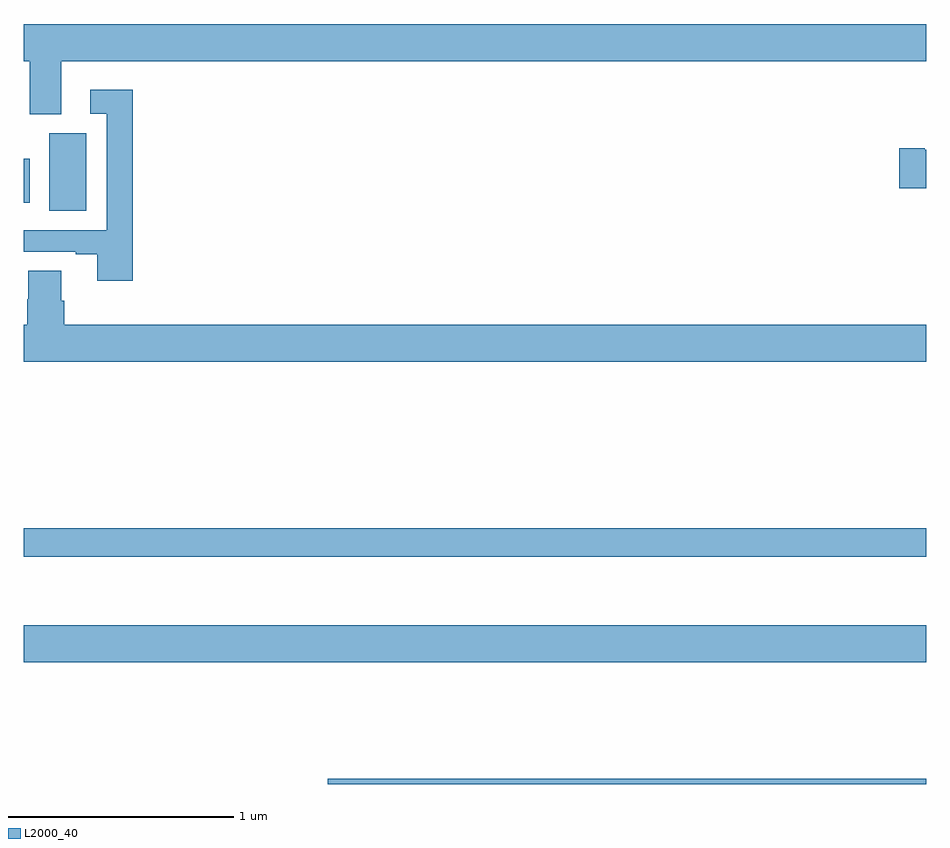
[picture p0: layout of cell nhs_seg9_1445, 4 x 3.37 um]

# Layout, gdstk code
import gdstk
lib = gdstk.Library(unit=1e-6, precision=1e-09)
def R(c, l, rs):  # rectangles x0, y0, x1, y1
    for r in rs: c.add(gdstk.rectangle(r[:2], r[2:], *l))
def P(c, l, *ps):  # polygons
    for p in ps: c.add(gdstk.Polygon(p, *l))
L2000_40 = (2000, 40)

nhs_seg9_1445 = lib.new_cell('nhs_seg9_1445')
R(nhs_seg9_1445, L2000_40, [(192.347,1242.5,195,1242.524), (191,1243.04,195,1243.204), (191,1243.506,195,1243.634), (191.114,1245.04,191.278,1245.384), (191,1245.075,191.026,1245.271)])
P(nhs_seg9_1445, L2000_40, [(191.167,1245.704),(195,1245.704),(195,1245.868),(191,1245.868),(191,1245.704),(191.027,1245.704),(191.027,1245.469),(191.167,1245.469)],
  [(191.483,1245.577),(191.295,1245.577),(191.295,1245.471),(191.367,1245.471),(191.367,1244.955),(191,1244.955),(191,1244.859),(191.231,1244.859),(191.231,1244.847),(191.327,1244.847),(191.327,1244.73),(191.483,1244.73)],
  [(195,1245.31),(194.992,1245.31),(194.992,1245.318),(194.88,1245.318),(194.88,1245.14),(195,1245.14)],
  [(195,1244.536),(191.18,1244.536),(191.18,1244.642),(191.167,1244.642),(191.167,1244.774),(191.02,1244.774),(191.02,1244.649),(191.015,1244.649),(191.015,1244.536),(191,1244.536),(191,1244.372),(195,1244.372)])

lib.write_gds('nhs_seg9_1445.gds')
